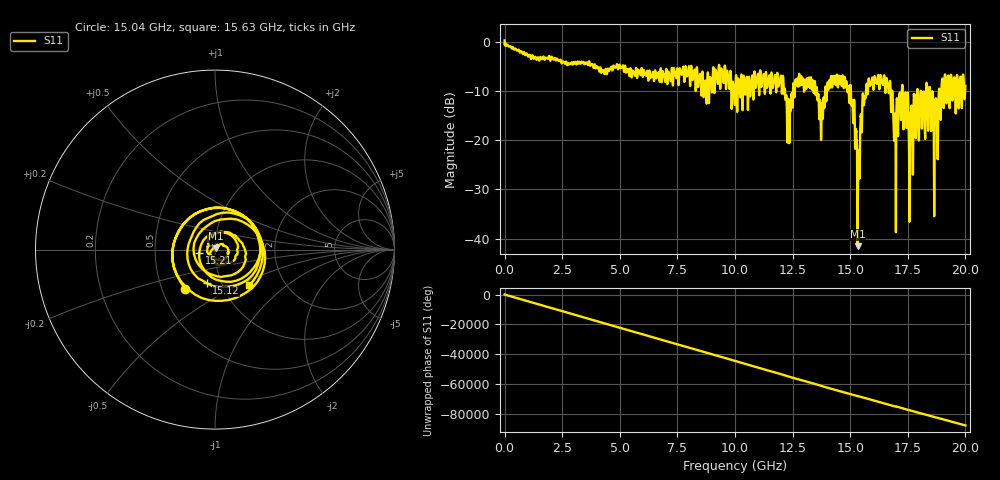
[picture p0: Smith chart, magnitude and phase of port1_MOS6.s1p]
! MS46122B
! 2250307/22442219
! 6/13/2025 3:26:31 PM
! C:\USERS\SPARKY\DOCUMENTS\VNA_DATA\JUNE13_2025\3.2K\PORT1_MOS6.S1P
! CHANNEL.1
! TR.MEASUREMENT
! RAW.DATA
# GHZ S RI R 50.0
! FREQ.GHZ  S11RE  S11IM
!; PortSelection: Port_1
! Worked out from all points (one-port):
!   10001 points, 1 MHz to 20 GHz, reference 50 ohm
!   lowest |S11| = -41.5 dB at 15.32 GHz (marker M1), VSWR 1.02, Z = 50.4 + j0.729 ohm
!   |S11| at or under -10 dB: 15.03 GHz to 15.69 GHz (655.5 MHz wide, 4.27 % of centre); 16.82 GHz to 17.24 GHz (416.9 MHz wide, 2.45 % of centre); 17.28 GHz to 17.91 GHz (631.4 MHz wide, 3.59 % of centre) (the widest 3 of 51)
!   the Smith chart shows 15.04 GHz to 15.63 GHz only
!   S11 on the Smith chart (normalised r, x): 15.04 GHz: 0.66, -0.31; 15.12 GHz: 0.85, -0.33; 15.21 GHz: 0.84, -0.03; 15.63 GHz: 1.33, -0.57
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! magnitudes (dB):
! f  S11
! 1 MHz  0.2
! 2.501 GHz  -4.2
! 5.001 GHz  -4.9
! 7.501 GHz  -5.4
! 10 GHz  -12.5
! 11.91 GHz  -7.8
! 12.34 GHz  -15.5
! 12.5 GHz  -12.5
! 13.29 GHz  -7.3
! 13.73 GHz  -20.0
! 14.25 GHz  -7.1
! 15 GHz  -9.0
! 15.04 GHz  -11.3
! 15.12 GHz  -14.3
! 15.21 GHz  -21.0
! 15.32 GHz  -41.5
! 15.63 GHz  -11.2
! 16.4 GHz  -8.4
! 16.98 GHz  -27.9
! 17.2 GHz  -15.4
! 17.44 GHz  -14.3
! 17.5 GHz  -10.4
! 17.64 GHz  -14.8
! 17.85 GHz  -19.6
! 18.38 GHz  -18.1
! 18.72 GHz  -11.8
! 19.06 GHz  -13.4
! 20 GHz  -9.0
